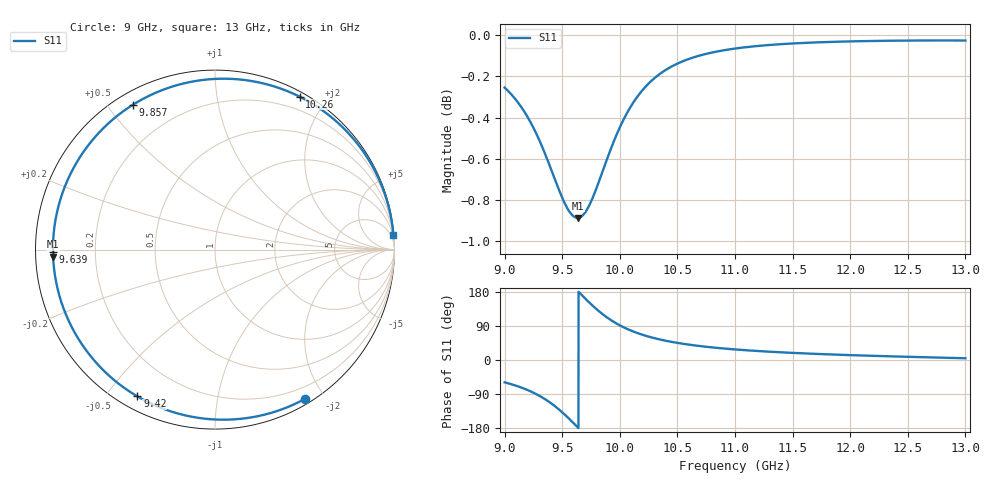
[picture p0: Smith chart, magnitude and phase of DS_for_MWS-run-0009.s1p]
! TOUCHSTONE file generated by CST DESIGN STUDIO
! Date and time: Tue Feb  4 14:04:22 2025
! Project name: C:\Work\MatlabApps\UnitCellOptimizationMatlab\CST\unitcell.cst
! Tree item: Tasks\Sweep1\SPara1\S-Parameters
! Header version: 2024
! Port assignment regex: !\s*Touchstone port\s*([0-9]+)\s*=\s*(CST MWS port|CST DES external port|CST DES block port)\s*(.+)\s* \(\"(.*)\"\)(\s*mode\s*([0-9]+))?.*
! Touchstone port assignment:
! Touchstone port 1 = CST DES external port 1 ("")
# GHz S MA R 50
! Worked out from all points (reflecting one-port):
!   4001 points, 9 GHz to 13 GHz, reference 50 ohm
!   lowest |S11| = -0.9 dB at 9.634 GHz (marker M1), VSWR 19.59, Z = 2.55 - j1.08 ohm
!   phase of S11 starts at -59 deg and turns -296 deg over the sweep
!   S11 on the Smith chart (normalised r, x): 9 GHz: 0.06, -1.77; 9.42 GHz: 0.05, -0.60; 9.639 GHz: 0.05, -0.01; 9.857 GHz: 0.05, +0.58; 10.26 GHz: 0.05, +1.70; 13 GHz: 1, +25
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9  0.9711 -58.9
9.105  0.964 -68.4
9.211  0.9541 -80.8
9.272  0.9468 -89.6
9.326  0.9395 -98.7
9.375  0.9322 -108.1
9.42  0.9251 -117.9
9.46  0.9189 -127.5
9.5  0.9131 -137.9
9.571  0.9053 -158.2
9.634  0.9029 -177.5
9.639  0.9029 -179.1
9.685  0.9046 166.7
9.733  0.909 152.3
9.796  0.9177 134.7
9.857  0.9277 119.5
9.924  0.9387 105.1
10  0.9497 91.5
10.123  0.9636 74.5
10.258  0.9738 61.0
10.371  0.9796 52.6
10.5  0.9843 45.2
10.72  0.9892 35.9
11  0.9926 27.9
11.5  0.9954 18.8
12  0.9966 12.8
12.5  0.997 8.4
13  0.997 4.6
